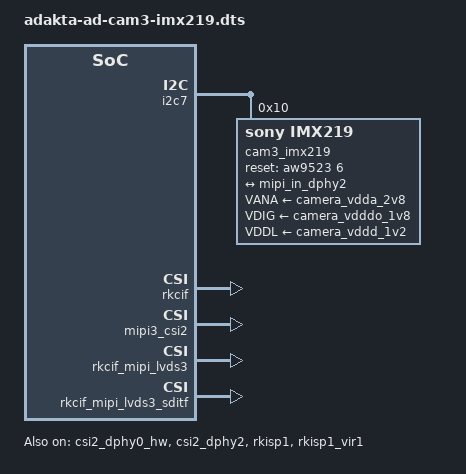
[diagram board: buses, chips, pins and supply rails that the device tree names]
/dts-v1/;
/plugin/;

#include <dt-bindings/power/rk3588-power.h>
#include <dt-bindings/gpio/gpio.h>
#include <dt-bindings/pinctrl/rockchip.h>

/ {
	metadata {
		title = "Enable Raspberry Pi Camera V2 3";
		compatible = "adakta,adakta-ad-rk3588";
		category = "camera";
		description = "Enable Raspberry Pi Camera V2 3";
	};

	fragment@0 {
		target = <&i2c7>;

		__overlay__ {
			status = "okay";

			cam3_imx219: cam3_imx219@10 {
				status = "okay";

				compatible = "sony,imx219";
				reg = <0x10>;

				power-domains = <&power RK3588_PD_VI>;
				rockchip,grf = <&sys_grf>;

				pinctrl-names = "default";
				pinctrl-0 = <&aw9523_cam3_reset_pins>;

				reset-gpios = <&aw9523 6 GPIO_ACTIVE_HIGH>;

				clocks = <&clk_cam_24m>;
				clock-names = "xvclk";

				VANA-supply = <&camera_vdda_2v8>;  /* 2.8v */
				VDIG-supply = <&camera_vdddo_1v8>; /* 1.8v */
				VDDL-supply = <&camera_vddd_1v2>;  /* 1.2v */

				rockchip,camera-module-index = <3>;
				rockchip,camera-module-facing = "back";
				rockchip,camera-module-name = "rpi-camera-v2";
				rockchip,camera-module-lens-name = "default";

				port {
					cam3_imx219_out: endpoint {
						status = "okay";
						remote-endpoint = <&mipi_in_dphy2>;
						data-lanes = <1 2>;
						clock-noncontinuous;
						link-frequencies = /bits/ 64 <456000000>;
					};
				};
			};
		};
	};

	fragment@1 {
		target = <&mipi_in_dphy2>;

		__overlay__ {
			remote-endpoint = <&cam3_imx219_out>;
			data-lanes = <1 2>;
		};
	};

	fragment@2 {
		target = <&rkcif>;

		__overlay__ {
			status = "okay";
		};
	};

	fragment@3 {
		target = <&rkcif_mmu>;

		__overlay__ {
			status = "okay";
		};
	};

	fragment@4 {
		target = <&csi2_dphy0_hw>;

		__overlay__ {
			status = "okay";
		};
	};

	fragment@5 {
		target = <&csi2_dphy2>;

		__overlay__ {
			status = "okay";
		};
	};

	fragment@6 {
		target = <&mipi3_csi2>;

		__overlay__ {
			status = "okay";
		};
	};

	fragment@7 {
		target = <&rkcif_mipi_lvds3>;

		__overlay__ {
			status = "okay";
		};
	};

	fragment@8 {
		target = <&rkcif_mipi_lvds3_sditf>;

		__overlay__ {
			status = "okay";
		};
	};

	fragment@9 {
		target = <&rkisp1>;

		__overlay__ {
			status = "okay";
		};
	};

	fragment@10 {
		target = <&isp1_mmu>;

		__overlay__ {
			status = "okay";
		};
	};

	fragment@11 {
		target = <&rkisp1_vir1>;

		__overlay__ {
			status = "okay";
		};
	};
};
